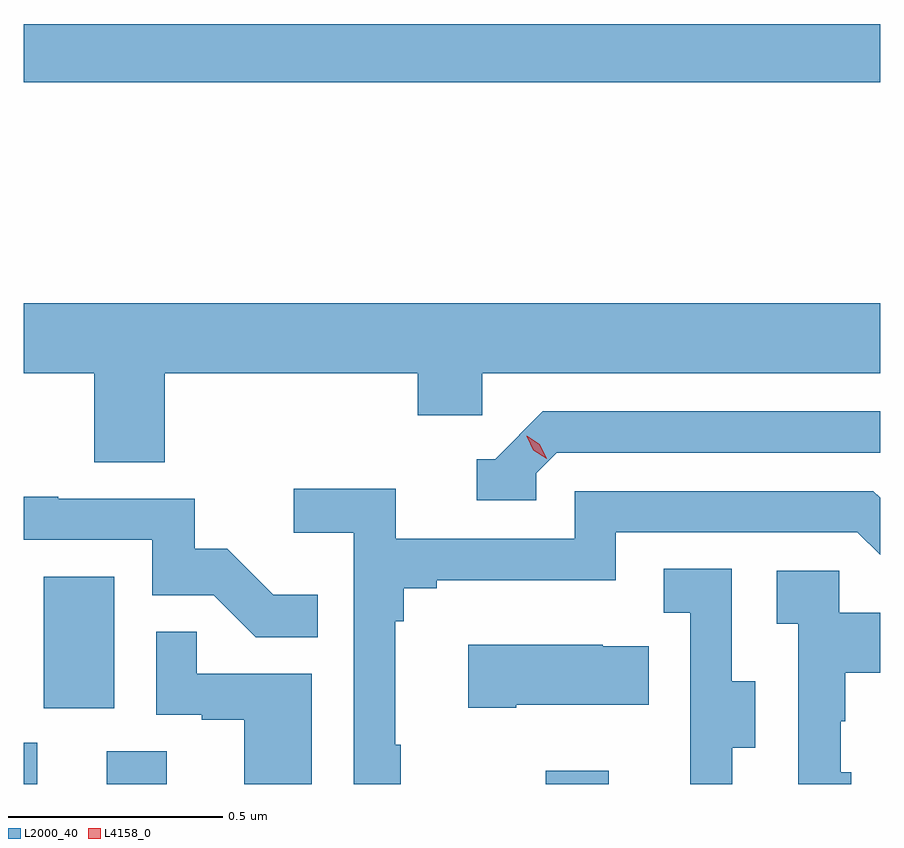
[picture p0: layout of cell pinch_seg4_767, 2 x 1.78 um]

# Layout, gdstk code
import gdstk
lib = gdstk.Library(unit=1e-6, precision=1e-09)
def R(c, l, rs):  # rectangles x0, y0, x1, y1
    for r in rs: c.add(gdstk.rectangle(r[:2], r[2:], *l))
def P(c, l, *ps):  # polygons
    for p in ps: c.add(gdstk.Polygon(p, *l))
L2000_40 = (2000, 40)
L4158_0 = (4158, 0)

pinch_seg4_767 = lib.new_cell('pinch_seg4_767')
R(pinch_seg4_767, L2000_40, [(880.557,819.837,880.588,819.933), (880.751,819.837,880.891,819.914), (881.776,819.837,881.923,819.868), (880.604,820.014,880.768,820.321), (880.557,821.476,882.557,821.612)])
P(pinch_seg4_767, L2000_40, [(880.886,820.796),(881.477,820.796),(881.477,820.698),(881.628,820.698),(881.628,820.796),(882.557,820.796),(882.557,820.96),(880.557,820.96),(880.557,820.796),(880.721,820.796),(880.721,820.588),(880.886,820.588)],
  [(881.754,820.563),(881.802,820.611),(882.557,820.611),(882.557,820.707),(881.769,820.707),(881.658,820.596),(881.615,820.596),(881.615,820.5),(881.754,820.5)],
  [(881.437,819.929),(881.425,819.929),(881.425,820.217),(881.444,820.217),(881.444,820.294),(881.521,820.294),(881.521,820.313),(881.94,820.313),(881.94,820.425),(882.504,820.425),(882.557,820.372),(882.557,820.505),(882.541,820.521),(881.844,820.521),(881.844,820.41),(881.426,820.41),(881.426,820.526),(881.187,820.526),(881.187,820.424),(881.328,820.424),(881.328,819.837),(881.437,819.837)],
  [(881.243,820.279),(881.139,820.279),(881.032,820.386),(880.956,820.386),(880.956,820.503),(880.637,820.503),(880.637,820.508),(880.557,820.508),(880.557,820.407),(880.857,820.407),(880.857,820.278),(881.001,820.278),(881.099,820.18),(881.243,820.18)],
  [(882.211,819.922),(882.265,819.922),(882.265,820.077),(882.21,820.077),(882.21,820.34),(882.051,820.34),(882.051,820.237),(882.114,820.237),(882.114,819.933),(882.113,819.933),(882.113,819.837),(882.211,819.837)],
  [(882.49,819.864),(882.465,819.864),(882.465,819.983),(882.475,819.983),(882.475,820.097),(882.557,820.097),(882.557,820.237),(882.462,820.237),(882.462,820.335),(882.315,820.335),(882.315,820.211),(882.366,820.211),(882.366,819.837),(882.49,819.837)],
  [(881.23,820.095),(880.961,820.095),(880.961,820.193),(880.866,820.193),(880.866,819.999),(880.973,819.999),(880.973,819.987),(881.072,819.987),(881.072,819.837),(881.23,819.837)],
  [(881.707,820.022),(882.017,820.022),(882.017,820.159),(881.909,820.159),(881.909,820.162),(881.595,820.162),(881.595,820.015),(881.707,820.015)])
P(pinch_seg4_767, L4158_0, [(881.778,820.597),(881.747,820.617),(881.731,820.649),(881.731,820.65),(881.732,820.65),(881.762,820.63),(881.778,820.597),(881.778,820.597)])

lib.write_gds('pinch_seg4_767.gds')
